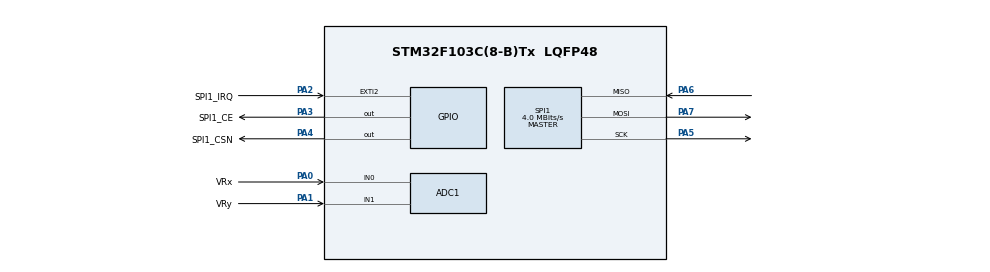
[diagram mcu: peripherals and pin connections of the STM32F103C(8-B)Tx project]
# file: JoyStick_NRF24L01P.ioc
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ADC1.Channel-12\#ChannelRegularConversion=ADC_CHANNEL_0
ADC1.Channel-13\#ChannelRegularConversion=ADC_CHANNEL_1
ADC1.ContinuousConvMode=ENABLE
ADC1.DiscontinuousConvMode=DISABLE
ADC1.EnableInjectedConversion=DISABLE
ADC1.EnableRegularConversion=ENABLE
ADC1.InjNumberOfConversion=2
ADC1.InjectedConvMode=None
ADC1.NbrOfConversion=2
ADC1.NbrOfConversionFlag=1
ADC1.Rank-12\#ChannelRegularConversion=1
ADC1.Rank-13\#ChannelRegularConversion=2
ADC1.SamplingTime-12\#ChannelRegularConversion=ADC_SAMPLETIME_7CYCLES_5
ADC1.SamplingTime-13\#ChannelRegularConversion=ADC_SAMPLETIME_7CYCLES_5
ADC1.master=1
Dma.ADC1.0.Direction=DMA_PERIPH_TO_MEMORY
Dma.ADC1.0.Instance=DMA1_Channel1
Dma.ADC1.0.MemDataAlignment=DMA_MDATAALIGN_HALFWORD
Dma.ADC1.0.MemInc=DMA_MINC_ENABLE
Dma.ADC1.0.Mode=DMA_NORMAL
Dma.ADC1.0.PeriphDataAlignment=DMA_PDATAALIGN_HALFWORD
Dma.ADC1.0.PeriphInc=DMA_PINC_DISABLE
Dma.ADC1.0.Priority=DMA_PRIORITY_LOW
Dma.Request0=ADC1
Mcu.Family=STM32F1
Mcu.Name=STM32F103C(8-B)Tx
Mcu.Package=LQFP48
NVIC.DMA1_Channel1_IRQn=true\:0\:0\:false\:false\:true\:false\:true
NVIC.PriorityGroup=NVIC_PRIORITYGROUP_4
PA0-WKUP.GPIO_Label=VRx
PA0-WKUP.Signal=ADCx_IN0
PA1.GPIO_Label=VRy
PA1.Signal=ADCx_IN1
PA13.Mode=Serial_Wire
PA13.Signal=SYS_JTMS-SWDIO
PA14.Mode=Serial_Wire
PA14.Signal=SYS_JTCK-SWCLK
PA2.GPIO_Label=SPI1_IRQ
PA2.GPIO_ModeDefaultEXTI=GPIO_MODE_IT_FALLING
PA2.Signal=GPXTI2
PA3.GPIO_Label=SPI1_CE
PA3.Signal=GPIO_Output
PA4.GPIO_Label=SPI1_CSN
PA4.Signal=GPIO_Output
PA5.Mode=Full_Duplex_Master
PA5.Signal=SPI1_SCK
PA6.Mode=Full_Duplex_Master
PA6.Signal=SPI1_MISO
PA7.Mode=Full_Duplex_Master
PA7.Signal=SPI1_MOSI
ProjectManager.HeapSize=0x200
ProjectManager.StackSize=0x400
ProjectManager.TargetToolchain=MDK-ARM V5.27
RCC.APB1Freq_Value=8000000
RCC.APB2Freq_Value=8000000
SH.ADCx_IN0.0=ADC1_IN0,IN0
SH.ADCx_IN1.0=ADC1_IN1,IN1
SPI1.CalculateBaudRate=4.0 MBits/s
SPI1.Direction=SPI_DIRECTION_2LINES
SPI1.Mode=SPI_MODE_MASTER
SPI1.VirtualType=VM_MASTER
board=custom

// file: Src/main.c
/* USER CODE BEGIN Header */
/**
  ******************************************************************************
  * @file           : main.c
  * @brief          : Main program body
  ******************************************************************************
  * @attention
  *
  * <h2><center>&copy; Copyright (c) 2020 STMicroelectronics.
  * All rights reserved.</center></h2>
  *
  * This software component is licensed by ST under BSD 3-Clause license,
  * the "License"; You may not use this file except in compliance with the
  * License. You may obtain a copy of the License at:
  *                        opensource.org/licenses/BSD-3-Clause
  *
  ******************************************************************************
  */
/* USER CODE END Header */

#include "main.h"

/* USER CODE BEGIN Includes */
#include "nrf24l01.h"
/* USER CODE END Includes */

/* USER CODE BEGIN PTD */
typedef struct
{
	int8_t	SpeedL;
	int8_t	SpeedR;
} Packet;
/* USER CODE END PTD */

ADC_HandleTypeDef hadc1;
DMA_HandleTypeDef hdma_adc1;

SPI_HandleTypeDef hspi1;

/* USER CODE BEGIN PV */

int16_t data[2] = {0,0};
int8_t transmit[2] = {0,0};
/* USER CODE END PV */

void SystemClock_Config(void);
static void MX_GPIO_Init(void);
static void MX_DMA_Init(void);
static void MX_ADC1_Init(void);
static void MX_SPI1_Init(void);

int main(void)
{

  /* MCU Configuration--------------------------------------------------------*/

  /* Reset of all peripherals, Initializes the Flash interface and the Systick. */
  HAL_Init();

  /* Configure the system clock */
  SystemClock_Config();

  /* Initialize all configured peripherals */
  MX_GPIO_Init();
  MX_DMA_Init();
  MX_ADC1_Init();
  MX_SPI1_Init();
  /* USER CODE BEGIN 2 */
	const uint64_t pipe1 = 0xE8E8F0F0E2LL;

  uint8_t res = isChipConnected(); // провер�?ет подключён ли модуль к SPI
	NRF_Init();
	 ////////////// SET ////////////////
  enableAckPayload();
  //setAutoAck(false);
  setPayloadSize(32);
  setChannel(26);
  openWritingPipe(pipe1);
  ///////////////////////////////////

	maskIRQ(true, true, true); // ма�?кируем прерывани�?
	HAL_ADCEx_Calibration_Start(&hadc1);
	HAL_ADC_Start_DMA(&hadc1, (uint32_t*)&data, 2);
  /* USER CODE END 2 */

  /* Infinite loop */
  /* USER CODE BEGIN WHILE */
  while (1)
  {
	  HAL_Delay(100);
    /* USER CODE END WHILE */

  }
}

void SystemClock_Config(void)
{
  RCC_OscInitTypeDef RCC_OscInitStruct = {0};
  RCC_ClkInitTypeDef RCC_ClkInitStruct = {0};
  RCC_PeriphCLKInitTypeDef PeriphClkInit = {0};

  /** Initializes the CPU, AHB and APB busses clocks
  */
  RCC_OscInitStruct.OscillatorType = RCC_OSCILLATORTYPE_HSI;
  RCC_OscInitStruct.HSIState = RCC_HSI_ON;
  RCC_OscInitStruct.HSICalibrationValue = RCC_HSICALIBRATION_DEFAULT;
  RCC_OscInitStruct.PLL.PLLState = RCC_PLL_NONE;
  if (HAL_RCC_OscConfig(&RCC_OscInitStruct) != HAL_OK)
  {
    Error_Handler();
  }
  /** Initializes the CPU, AHB and APB busses clocks
  */
  RCC_ClkInitStruct.ClockType = RCC_CLOCKTYPE_HCLK|RCC_CLOCKTYPE_SYSCLK
                              |RCC_CLOCKTYPE_PCLK1|RCC_CLOCKTYPE_PCLK2;
  RCC_ClkInitStruct.SYSCLKSource = RCC_SYSCLKSOURCE_HSI;
  RCC_ClkInitStruct.AHBCLKDivider = RCC_SYSCLK_DIV1;
  RCC_ClkInitStruct.APB1CLKDivider = RCC_HCLK_DIV1;
  RCC_ClkInitStruct.APB2CLKDivider = RCC_HCLK_DIV1;

  if (HAL_RCC_ClockConfig(&RCC_ClkInitStruct, FLASH_LATENCY_0) != HAL_OK)
  {
    Error_Handler();
  }
  PeriphClkInit.PeriphClockSelection = RCC_PERIPHCLK_ADC;
  PeriphClkInit.AdcClockSelection = RCC_ADCPCLK2_DIV2;
  if (HAL_RCCEx_PeriphCLKConfig(&PeriphClkInit) != HAL_OK)
  {
    Error_Handler();
  }
}

static void MX_ADC1_Init(void)
{

  ADC_ChannelConfTypeDef sConfig = {0};

  /** Common config
  */
  hadc1.Instance = ADC1;
  hadc1.Init.ScanConvMode = ADC_SCAN_ENABLE;
  hadc1.Init.ContinuousConvMode = ENABLE;
  hadc1.Init.DiscontinuousConvMode = DISABLE;
  hadc1.Init.ExternalTrigConv = ADC_SOFTWARE_START;
  hadc1.Init.DataAlign = ADC_DATAALIGN_RIGHT;
  hadc1.Init.NbrOfConversion = 2;
  if (HAL_ADC_Init(&hadc1) != HAL_OK)
  {
    Error_Handler();
  }
  /** Configure Regular Channel
  */
  sConfig.Channel = ADC_CHANNEL_0;
  sConfig.Rank = ADC_REGULAR_RANK_1;
  sConfig.SamplingTime = ADC_SAMPLETIME_7CYCLES_5;
  if (HAL_ADC_ConfigChannel(&hadc1, &sConfig) != HAL_OK)
  {
    Error_Handler();
  }
  /** Configure Regular Channel
  */
  sConfig.Channel = ADC_CHANNEL_1;
  sConfig.Rank = ADC_REGULAR_RANK_2;
  if (HAL_ADC_ConfigChannel(&hadc1, &sConfig) != HAL_OK)
  {
    Error_Handler();
  }

}

static void MX_SPI1_Init(void)
{

  /* SPI1 parameter configuration*/
  hspi1.Instance = SPI1;
  hspi1.Init.Mode = SPI_MODE_MASTER;
  hspi1.Init.Direction = SPI_DIRECTION_2LINES;
  hspi1.Init.DataSize = SPI_DATASIZE_8BIT;
  hspi1.Init.CLKPolarity = SPI_POLARITY_LOW;
  hspi1.Init.CLKPhase = SPI_PHASE_1EDGE;
  hspi1.Init.NSS = SPI_NSS_SOFT;
  hspi1.Init.BaudRatePrescaler = SPI_BAUDRATEPRESCALER_2;
  hspi1.Init.FirstBit = SPI_FIRSTBIT_MSB;
  hspi1.Init.TIMode = SPI_TIMODE_DISABLE;
  hspi1.Init.CRCCalculation = SPI_CRCCALCULATION_DISABLE;
  hspi1.Init.CRCPolynomial = 10;
  if (HAL_SPI_Init(&hspi1) != HAL_OK)
  {
    Error_Handler();
  }

}

static void MX_DMA_Init(void)
{

  /* DMA controller clock enable */
  __HAL_RCC_DMA1_CLK_ENABLE();

  /* DMA interrupt init */
  /* DMA1_Channel1_IRQn interrupt configuration */
  HAL_NVIC_SetPriority(DMA1_Channel1_IRQn, 0, 0);
  HAL_NVIC_EnableIRQ(DMA1_Channel1_IRQn);

}

static void MX_GPIO_Init(void)
{
  GPIO_InitTypeDef GPIO_InitStruct = {0};

  /* GPIO Ports Clock Enable */
  __HAL_RCC_GPIOA_CLK_ENABLE();

  /*Configure GPIO pin Output Level */
  HAL_GPIO_WritePin(GPIOA, SPI1_CE_Pin|SPI1_CSN_Pin, GPIO_PIN_RESET);

  /*Configure GPIO pin : SPI1_IRQ_Pin */
  GPIO_InitStruct.Pin = SPI1_IRQ_Pin;
  GPIO_InitStruct.Mode = GPIO_MODE_IT_FALLING;
  GPIO_InitStruct.Pull = GPIO_NOPULL;
  HAL_GPIO_Init(SPI1_IRQ_GPIO_Port, &GPIO_InitStruct);

  /*Configure GPIO pins : SPI1_CE_Pin SPI1_CSN_Pin */
  GPIO_InitStruct.Pin = SPI1_CE_Pin|SPI1_CSN_Pin;
  GPIO_InitStruct.Mode = GPIO_MODE_OUTPUT_PP;
  GPIO_InitStruct.Pull = GPIO_NOPULL;
  GPIO_InitStruct.Speed = GPIO_SPEED_FREQ_LOW;
  HAL_GPIO_Init(GPIOA, &GPIO_InitStruct);

}

/* USER CODE BEGIN 4 */
int8_t SET_Point (uint32_t Data)
{
	if(Data>3700)
		return 25;
	if(Data<2000)
		return -25;
	return 0;
}
void HAL_ADC_ConvCpltCallback(ADC_HandleTypeDef* hadc)
{
	int8_t dataX = SET_Point(data[0]);
	int8_t dataY = SET_Point(data[1]);
		if((dataY > 20) || (dataY < -20))
		{
				transmit[0] = dataY;
				transmit[1] = dataY;
		}
		else
		{
			if((dataX > 20) || (dataX < -1*20))
			{
				transmit[0] = dataX;
				transmit[1] = -dataX;
			}
			else
			{
				transmit[0] = 0;
				transmit[1] = 0;
			}
		}
		uint8_t remsg = 0; // переменнаѿ длѿ приёма байта пришедшего вмеѿте ѿ ответом
	  write(&transmit, 2*sizeof(uint8_t)); // отправлѿем данные
}
//void HAL_ADCEx_InjectedConvCpltCallback(ADC_HandleTypeDef* hadc1)
//{
//	dataX = SET_Point(HAL_ADCEx_InjectedGetValue(hadc1, ADC_INJECTED_RANK_1));
//	dataY = SET_Point(HAL_ADCEx_InjectedGetValue(hadc1, ADC_INJECTED_RANK_2));
//	HAL_ADCEx_InjectedStart_IT(hadc1);
//}
/* USER CODE END 4 */

void Error_Handler(void)
{
}

/************************ (C) COPYRIGHT STMicroelectronics *****END OF FILE****/
